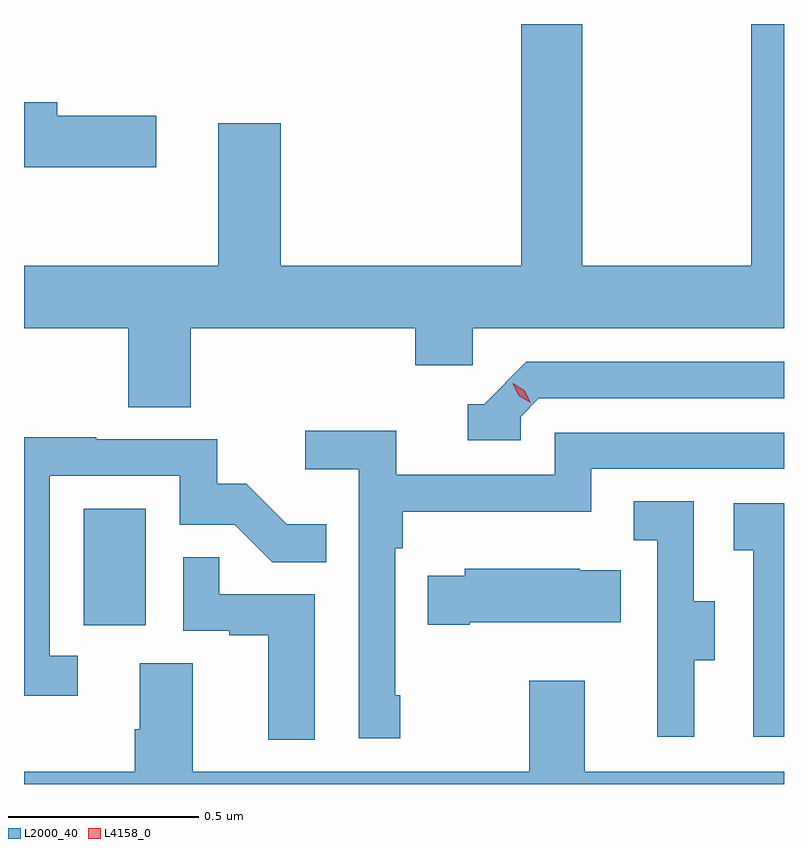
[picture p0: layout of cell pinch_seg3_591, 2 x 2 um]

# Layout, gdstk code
import gdstk
lib = gdstk.Library(unit=1e-6, precision=1e-09)
def R(c, l, rs):  # rectangles x0, y0, x1, y1
    for r in rs: c.add(gdstk.rectangle(r[:2], r[2:], *l))
def P(c, l, *ps):  # polygons
    for p in ps: c.add(gdstk.Polygon(p, *l))
L2000_40 = (2000, 40)
L4158_0 = (4158, 0)

pinch_seg3_591 = lib.new_cell('pinch_seg3_591')
R(pinch_seg3_591, L2000_40, [(1027.79,700.134,1027.954,700.441)])
P(pinch_seg3_591, L2000_40, [(1028.072,700.916),(1028.663,700.916),(1028.663,700.818),(1028.814,700.818),(1028.814,700.916),(1029.633,700.916),(1029.633,701.716),(1029.547,701.716),(1029.547,701.08),(1029.102,701.08),(1029.102,701.716),(1028.942,701.716),(1028.942,701.08),(1028.308,701.08),(1028.308,701.455),(1028.144,701.455),(1028.144,701.08),(1027.633,701.08),(1027.633,700.916),(1027.907,700.916),(1027.907,700.708),(1028.072,700.708)],
  [(1027.981,701.474),(1027.72,701.474),(1027.72,701.51),(1027.633,701.51),(1027.633,701.339),(1027.981,701.339)],
  [(1028.94,700.683),(1028.988,700.731),(1029.633,700.731),(1029.633,700.827),(1028.955,700.827),(1028.844,700.716),(1028.801,700.716),(1028.801,700.62),(1028.94,700.62)],
  [(1028.623,699.949),(1028.61,699.949),(1028.61,700.337),(1028.63,700.337),(1028.63,700.433),(1029.126,700.433),(1029.126,700.545),(1029.633,700.545),(1029.633,700.641),(1029.03,700.641),(1029.03,700.53),(1028.612,700.53),(1028.612,700.646),(1028.373,700.646),(1028.373,700.544),(1028.514,700.544),(1028.514,699.837),(1028.623,699.837)],
  [(1027.774,700.053),(1027.701,700.053),(1027.701,700.527),(1028.043,700.527),(1028.043,700.398),(1028.188,700.398),(1028.286,700.3),(1028.429,700.3),(1028.429,700.399),(1028.325,700.399),(1028.218,700.506),(1028.142,700.506),(1028.142,700.623),(1027.823,700.623),(1027.823,700.628),(1027.633,700.628),(1027.633,699.948),(1027.774,699.948)],
  [(1029.397,700.042),(1029.451,700.042),(1029.451,700.197),(1029.396,700.197),(1029.396,700.46),(1029.237,700.46),(1029.237,700.357),(1029.3,700.357),(1029.3,700.053),(1029.299,700.053),(1029.299,699.84),(1029.397,699.84)],
  [(1029.633,700.455),(1029.501,700.455),(1029.501,700.331),(1029.552,700.331),(1029.552,699.84),(1029.633,699.84)],
  [(1028.398,700.215),(1028.147,700.215),(1028.147,700.313),(1028.052,700.313),(1028.052,700.119),(1028.173,700.119),(1028.173,700.107),(1028.276,700.107),(1028.276,699.833),(1028.398,699.833)],
  [(1028.806,700.142),(1029.203,700.142),(1029.203,700.279),(1029.095,700.279),(1029.095,700.282),(1028.793,700.282),(1028.793,700.264),(1028.695,700.264),(1028.695,700.135),(1028.806,700.135)],
  [(1029.633,699.748),(1029.109,699.748),(1029.109,699.988),(1028.962,699.988),(1028.962,699.748),(1028.077,699.748),(1028.077,700.034),(1027.937,700.034),(1027.937,699.86),(1027.925,699.86),(1027.925,699.748),(1027.633,699.748),(1027.633,699.716),(1029.633,699.716)])
P(pinch_seg3_591, L4158_0, [(1028.966,700.719),(1028.935,700.738),(1028.919,700.771),(1028.919,700.771),(1028.919,700.771),(1028.95,700.752),(1028.966,700.719),(1028.966,700.719)])

lib.write_gds('pinch_seg3_591.gds')
